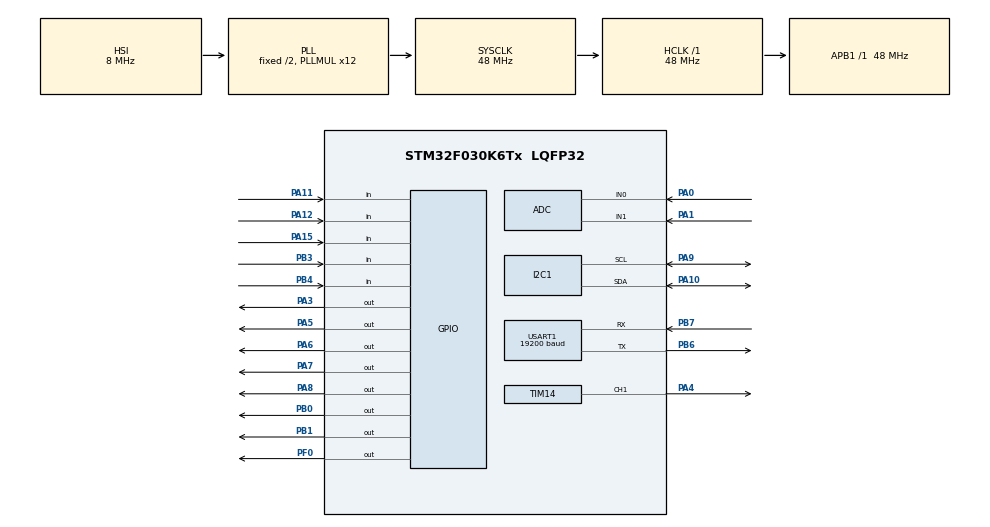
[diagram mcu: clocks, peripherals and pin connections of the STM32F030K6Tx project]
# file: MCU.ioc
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ADC.ClockPrescaler=ADC_CLOCK_ASYNC_DIV1
ADC.DMAContinuousRequests=ENABLE
ADC.DiscontinuousConvMode=ENABLE
ADC.EOCSelection=ADC_EOC_SEQ_CONV
ADC.EnableAnalogWatchDog=false
ADC.ExternalTrigConv=ADC_EXTERNALTRIGCONV_T3_TRGO
ADC.Overrun=ADC_OVR_DATA_OVERWRITTEN
ADC.SamplingTime=ADC_SAMPLETIME_7CYCLES_5
Dma.ADC.0.Direction=DMA_PERIPH_TO_MEMORY
Dma.ADC.0.Instance=DMA1_Channel1
Dma.ADC.0.MemDataAlignment=DMA_MDATAALIGN_HALFWORD
Dma.ADC.0.MemInc=DMA_MINC_ENABLE
Dma.ADC.0.Mode=DMA_CIRCULAR
Dma.ADC.0.PeriphDataAlignment=DMA_PDATAALIGN_HALFWORD
Dma.ADC.0.PeriphInc=DMA_PINC_DISABLE
Dma.ADC.0.Priority=DMA_PRIORITY_LOW
Dma.Request0=ADC
Mcu.Family=STM32F0
Mcu.Name=STM32F030K6Tx
Mcu.Package=LQFP32
NVIC.DMA1_Channel1_IRQn=true\:0\:0\:false\:false\:true\:false\:true
NVIC.TIM17_IRQn=true\:0\:0\:false\:false\:true\:false\:true
NVIC.TimeBase=TIM17_IRQn
NVIC.TimeBaseIP=TIM17
NVIC.USART1_IRQn=true\:0\:0\:false\:false\:true\:true\:true
PA0.Mode=IN0
PA0.Signal=ADC_IN0
PA1.Mode=IN1
PA1.Signal=ADC_IN1
PA10.Mode=I2C
PA10.Signal=I2C1_SDA
PA11.GPIO_PuPd=GPIO_PULLUP
PA11.Signal=GPIO_Input
PA12.GPIO_PuPd=GPIO_PULLUP
PA12.Signal=GPIO_Input
PA13.Mode=Serial_Wire
PA13.Signal=SYS_SWDIO
PA14.Mode=Serial_Wire
PA14.Signal=SYS_SWCLK
PA15.GPIO_PuPd=GPIO_PULLUP
PA15.Signal=GPIO_Input
PA3.GPIO_Speed=GPIO_SPEED_FREQ_LOW
PA3.Signal=GPIO_Output
PA4.Signal=S_TIM14_CH1
PA5.Signal=GPIO_Output
PA6.Signal=GPIO_Output
PA7.Signal=GPIO_Output
PA8.Signal=GPIO_Output
PA9.Mode=I2C
PA9.Signal=I2C1_SCL
PB0.Signal=GPIO_Output
PB1.Signal=GPIO_Output
PB3.GPIO_PuPd=GPIO_PULLUP
PB3.Signal=GPIO_Input
PB4.GPIO_PuPd=GPIO_PULLUP
PB4.Signal=GPIO_Input
PB6.Mode=Asynchronous
PB6.Signal=USART1_TX
PB7.Mode=Asynchronous
PB7.Signal=USART1_RX
PF0-OSC_IN.Signal=GPIO_Output
ProjectManager.HeapSize=0x200
ProjectManager.StackSize=0x400
ProjectManager.TargetToolchain=MDK-ARM V5
RCC.AHBFreq_Value=48000000
RCC.APB1Freq_Value=48000000
RCC.APB1TimFreq_Value=48000000
RCC.HCLKFreq_Value=48000000
RCC.PLLMUL=RCC_PLL_MUL12
RCC.SYSCLKFreq_VALUE=48000000
RCC.SYSCLKSource=RCC_SYSCLKSOURCE_PLLCLK
SH.S_TIM14_CH1.0=TIM14_CH1,PWM Generation1 CH1
TIM14.Channel=TIM_CHANNEL_1
TIM14.Period=11
TIM14.Pulse=5
TIM3.Period=23999
TIM3.TIM_MasterOutputTrigger=TIM_TRGO_UPDATE
USART1.BaudRate=19200
USART1.SwapParam=ADVFEATURE_SWAP_ENABLE
USART1.VirtualMode-Asynchronous=VM_ASYNC
VP_SYS_VS_tim17.Mode=TIM17
VP_TIM14_VS_ClockSourceINT.Mode=Enable_Timer
VP_TIM3_VS_ClockSourceINT.Mode=Internal
board=custom

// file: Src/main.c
/* USER CODE BEGIN Header */
/**
  ******************************************************************************
  * @file           : main.c
  * @brief          : Main program body
  ******************************************************************************
  * @attention
  *
  * <h2><center>&copy; Copyright (c) 2019 STMicroelectronics.
  * All rights reserved.</center></h2>
  *
  * This software component is licensed by ST under BSD 3-Clause license,
  * the "License"; You may not use this file except in compliance with the
  * License. You may obtain a copy of the License at:
  *                        opensource.org/licenses/BSD-3-Clause
  *
  ******************************************************************************
  */
/* USER CODE END Header */

#include "main.h"

/* USER CODE BEGIN Includes */
#include "stdio.h"
#include "hardware.h"
#include "string.h"
#include "math.h"
/* USER CODE END Includes */

/* USER CODE BEGIN PTD */
extern uint16_t RGB_DATA[16];
extern uint8_t SegmentPatern[16];
extern uint8_t segmentBuffer[4];
uint8_t uartTMP[1];
extern uint8_t URATRX[50];
uint16_t ADCData[256][2];//it will cntain the ADC data
extern DS1307 Now;
extern uint8_t CalRMS ;
uint32_t RMS[2];
float Volt[2];
/* USER CODE END PTD */

ADC_HandleTypeDef hadc;
DMA_HandleTypeDef hdma_adc;

I2C_HandleTypeDef hi2c1;

TIM_HandleTypeDef htim3;
TIM_HandleTypeDef htim14;

UART_HandleTypeDef huart1;

void SystemClock_Config(void);
static void MX_GPIO_Init(void);
static void MX_DMA_Init(void);
static void MX_ADC_Init(void);
static void MX_I2C1_Init(void);
static void MX_TIM14_Init(void);
static void MX_USART1_UART_Init(void);
static void MX_TIM3_Init(void);

int main(void)
{
  /* USER CODE BEGIN 1 */
	//int i =0;
  /* USER CODE END 1 */

  /* MCU Configuration--------------------------------------------------------*/

  /* Reset of all peripherals, Initializes the Flash interface and the Systick. */
  HAL_Init();

  /* Configure the system clock */
  SystemClock_Config();

  /* Initialize all configured peripherals */
  MX_GPIO_Init();
  MX_DMA_Init();
  MX_ADC_Init();
  MX_I2C1_Init();
  MX_TIM14_Init();
  MX_USART1_UART_Init();
  MX_TIM3_Init();
  /* USER CODE BEGIN 2 */
	//static int key;
	char myName[20] = {"ASiDesigner\r\n"};
	char txtBuf[50];
	HAL_TIM_PWM_Start(&htim14,TIM_CHANNEL_1);
  /* USER CODE END 2 */

  /* Infinite loop */
  /* USER CODE BEGIN WHILE */
	int i=0;
	SetTime(31,6,14,5,25,9,18);
	HAL_UART_Receive_IT(&huart1,uartTMP,1);
	//Please start timer 3 for ADC regular conversion
	HAL_TIM_Base_Start(&htim3);
	//Read Data from ADC
	HAL_ADC_Start_DMA(&hadc, (uint32_t *) ADCData,512);
  while (1)
  {
    /* USER CODE END WHILE */

    /* USER CODE BEGIN 3 */
		//Buffers are ready for RMS calculation
		if(CalRMS){
			CalRMS =0;
			RMS[0] = 0;
			RMS[1] = 0;

			for(i=0;i<256;i++)
			{
				RMS[0] += ADCData[i][0] * ADCData[i][0];
				RMS[1] += ADCData[i][1] * ADCData[i][1];
			}

			//Clac the result by diving by 256
			RMS[0] = RMS[0] >>8;
			RMS[1] = RMS[1] >>8;

			Volt[0] = sqrt(RMS[0]);
			Volt[1] = sqrt(RMS[1]);

			Volt[0] = Volt[0] * 0.00593325092707045735475896168109;
			Volt[1] = Volt[1] * 0.00593325092707045735475896168109;
		}
		GetTime();
		sprintf(myName,"%04d",(int)(Volt[0]*100.0));
		//sprintf(myName,"%02d%02d",Now.minute,Now.second);
		segmentBuffer[0] = myName[0] - '0';
		segmentBuffer[1] = myName[1] - '0';
		segmentBuffer[2] = myName[2] - '0';
		segmentBuffer[3] = myName[3] - '0';
		i++;
		if(i>9999)
			i = 0;
		HAL_Delay(10);
		//Pars Uart incoming data
		//if it's NAM, please tell me your name
		if(URATRX[0] == 'N' && URATRX[1] == 'A' && URATRX[2] == 'M'){
			sprintf(txtBuf,"ASiDesigner and the cnt is %d\r\n",i);
			HAL_UART_Transmit(&huart1,(uint8_t *)txtBuf,strlen(txtBuf),100);
			clearRXD();
		}
		//We should get STM and the time in the 11:39:10 format
		if(URATRX[0] == 'S' && URATRX[1] == 'T' && URATRX[2] == 'M'){
			int h,m,s;
			HAL_Delay(100);
			sscanf((char*)URATRX,"%*s %d:%d:%d",&h,&m,&s);
			Now.hour = h;
			Now.minute = m;
			Now.second = s;
			SetTime(Now.second,Now.minute,Now.hour,Now.day,Now.date,Now.month,Now.year);
			clearRXD();
		}
  }
  /* USER CODE END 3 */
}

void SystemClock_Config(void)
{
  RCC_OscInitTypeDef RCC_OscInitStruct = {0};
  RCC_ClkInitTypeDef RCC_ClkInitStruct = {0};
  RCC_PeriphCLKInitTypeDef PeriphClkInit = {0};

  /** Initializes the CPU, AHB and APB busses clocks
  */
  RCC_OscInitStruct.OscillatorType = RCC_OSCILLATORTYPE_HSI|RCC_OSCILLATORTYPE_HSI14;
  RCC_OscInitStruct.HSIState = RCC_HSI_ON;
  RCC_OscInitStruct.HSI14State = RCC_HSI14_ON;
  RCC_OscInitStruct.HSICalibrationValue = RCC_HSICALIBRATION_DEFAULT;
  RCC_OscInitStruct.HSI14CalibrationValue = 16;
  RCC_OscInitStruct.PLL.PLLState = RCC_PLL_ON;
  RCC_OscInitStruct.PLL.PLLSource = RCC_PLLSOURCE_HSI;
  RCC_OscInitStruct.PLL.PLLMUL = RCC_PLL_MUL12;
  RCC_OscInitStruct.PLL.PREDIV = RCC_PREDIV_DIV1;
  if (HAL_RCC_OscConfig(&RCC_OscInitStruct) != HAL_OK)
  {
    Error_Handler();
  }
  /** Initializes the CPU, AHB and APB busses clocks
  */
  RCC_ClkInitStruct.ClockType = RCC_CLOCKTYPE_HCLK|RCC_CLOCKTYPE_SYSCLK
                              |RCC_CLOCKTYPE_PCLK1;
  RCC_ClkInitStruct.SYSCLKSource = RCC_SYSCLKSOURCE_PLLCLK;
  RCC_ClkInitStruct.AHBCLKDivider = RCC_SYSCLK_DIV1;
  RCC_ClkInitStruct.APB1CLKDivider = RCC_HCLK_DIV1;

  if (HAL_RCC_ClockConfig(&RCC_ClkInitStruct, FLASH_LATENCY_1) != HAL_OK)
  {
    Error_Handler();
  }
  PeriphClkInit.PeriphClockSelection = RCC_PERIPHCLK_USART1|RCC_PERIPHCLK_I2C1;
  PeriphClkInit.Usart1ClockSelection = RCC_USART1CLKSOURCE_PCLK1;
  PeriphClkInit.I2c1ClockSelection = RCC_I2C1CLKSOURCE_HSI;
  if (HAL_RCCEx_PeriphCLKConfig(&PeriphClkInit) != HAL_OK)
  {
    Error_Handler();
  }
}

static void MX_ADC_Init(void)
{

  ADC_ChannelConfTypeDef sConfig = {0};

  /** Configure the global features of the ADC (Clock, Resolution, Data Alignment and number of conversion)
  */
  hadc.Instance = ADC1;
  hadc.Init.ClockPrescaler = ADC_CLOCK_ASYNC_DIV1;
  hadc.Init.Resolution = ADC_RESOLUTION_12B;
  hadc.Init.DataAlign = ADC_DATAALIGN_RIGHT;
  hadc.Init.ScanConvMode = ADC_SCAN_DIRECTION_FORWARD;
  hadc.Init.EOCSelection = ADC_EOC_SEQ_CONV;
  hadc.Init.LowPowerAutoWait = DISABLE;
  hadc.Init.LowPowerAutoPowerOff = DISABLE;
  hadc.Init.ContinuousConvMode = DISABLE;
  hadc.Init.DiscontinuousConvMode = ENABLE;
  hadc.Init.ExternalTrigConv = ADC_EXTERNALTRIGCONV_T3_TRGO;
  hadc.Init.ExternalTrigConvEdge = ADC_EXTERNALTRIGCONVEDGE_RISING;
  hadc.Init.DMAContinuousRequests = ENABLE;
  hadc.Init.Overrun = ADC_OVR_DATA_OVERWRITTEN;
  if (HAL_ADC_Init(&hadc) != HAL_OK)
  {
    Error_Handler();
  }
  /** Configure for the selected ADC regular channel to be converted.
  */
  sConfig.Channel = ADC_CHANNEL_0;
  sConfig.Rank = ADC_RANK_CHANNEL_NUMBER;
  sConfig.SamplingTime = ADC_SAMPLETIME_7CYCLES_5;
  if (HAL_ADC_ConfigChannel(&hadc, &sConfig) != HAL_OK)
  {
    Error_Handler();
  }
  /** Configure for the selected ADC regular channel to be converted.
  */
  sConfig.Channel = ADC_CHANNEL_1;
  if (HAL_ADC_ConfigChannel(&hadc, &sConfig) != HAL_OK)
  {
    Error_Handler();
  }

}

static void MX_I2C1_Init(void)
{

  hi2c1.Instance = I2C1;
  hi2c1.Init.Timing = 0x2000090E;
  hi2c1.Init.OwnAddress1 = 0;
  hi2c1.Init.AddressingMode = I2C_ADDRESSINGMODE_7BIT;
  hi2c1.Init.DualAddressMode = I2C_DUALADDRESS_DISABLE;
  hi2c1.Init.OwnAddress2 = 0;
  hi2c1.Init.OwnAddress2Masks = I2C_OA2_NOMASK;
  hi2c1.Init.GeneralCallMode = I2C_GENERALCALL_DISABLE;
  hi2c1.Init.NoStretchMode = I2C_NOSTRETCH_DISABLE;
  if (HAL_I2C_Init(&hi2c1) != HAL_OK)
  {
    Error_Handler();
  }
  /** Configure Analogue filter
  */
  if (HAL_I2CEx_ConfigAnalogFilter(&hi2c1, I2C_ANALOGFILTER_ENABLE) != HAL_OK)
  {
    Error_Handler();
  }
  /** Configure Digital filter
  */
  if (HAL_I2CEx_ConfigDigitalFilter(&hi2c1, 0) != HAL_OK)
  {
    Error_Handler();
  }

}

static void MX_TIM3_Init(void)
{

  TIM_ClockConfigTypeDef sClockSourceConfig = {0};
  TIM_MasterConfigTypeDef sMasterConfig = {0};

  htim3.Instance = TIM3;
  htim3.Init.Prescaler = 0;
  htim3.Init.CounterMode = TIM_COUNTERMODE_UP;
  htim3.Init.Period = 23999;
  htim3.Init.ClockDivision = TIM_CLOCKDIVISION_DIV1;
  htim3.Init.AutoReloadPreload = TIM_AUTORELOAD_PRELOAD_DISABLE;
  if (HAL_TIM_Base_Init(&htim3) != HAL_OK)
  {
    Error_Handler();
  }
  sClockSourceConfig.ClockSource = TIM_CLOCKSOURCE_INTERNAL;
  if (HAL_TIM_ConfigClockSource(&htim3, &sClockSourceConfig) != HAL_OK)
  {
    Error_Handler();
  }
  sMasterConfig.MasterOutputTrigger = TIM_TRGO_UPDATE;
  sMasterConfig.MasterSlaveMode = TIM_MASTERSLAVEMODE_DISABLE;
  if (HAL_TIMEx_MasterConfigSynchronization(&htim3, &sMasterConfig) != HAL_OK)
  {
    Error_Handler();
  }

}

static void MX_TIM14_Init(void)
{

  TIM_OC_InitTypeDef sConfigOC = {0};

  htim14.Instance = TIM14;
  htim14.Init.Prescaler = 0;
  htim14.Init.CounterMode = TIM_COUNTERMODE_UP;
  htim14.Init.Period = 11;
  htim14.Init.ClockDivision = TIM_CLOCKDIVISION_DIV1;
  htim14.Init.AutoReloadPreload = TIM_AUTORELOAD_PRELOAD_DISABLE;
  if (HAL_TIM_Base_Init(&htim14) != HAL_OK)
  {
    Error_Handler();
  }
  if (HAL_TIM_PWM_Init(&htim14) != HAL_OK)
  {
    Error_Handler();
  }
  sConfigOC.OCMode = TIM_OCMODE_PWM1;
  sConfigOC.Pulse = 5;
  sConfigOC.OCPolarity = TIM_OCPOLARITY_HIGH;
  sConfigOC.OCFastMode = TIM_OCFAST_DISABLE;
  if (HAL_TIM_PWM_ConfigChannel(&htim14, &sConfigOC, TIM_CHANNEL_1) != HAL_OK)
  {
    Error_Handler();
  }
  HAL_TIM_MspPostInit(&htim14);

}

static void MX_USART1_UART_Init(void)
{

  huart1.Instance = USART1;
  huart1.Init.BaudRate = 19200;
  huart1.Init.WordLength = UART_WORDLENGTH_8B;
  huart1.Init.StopBits = UART_STOPBITS_1;
  huart1.Init.Parity = UART_PARITY_NONE;
  huart1.Init.Mode = UART_MODE_TX_RX;
  huart1.Init.HwFlowCtl = UART_HWCONTROL_NONE;
  huart1.Init.OverSampling = UART_OVERSAMPLING_16;
  huart1.Init.OneBitSampling = UART_ONE_BIT_SAMPLE_DISABLE;
  huart1.AdvancedInit.AdvFeatureInit = UART_ADVFEATURE_SWAP_INIT;
  huart1.AdvancedInit.Swap = UART_ADVFEATURE_SWAP_ENABLE;
  if (HAL_UART_Init(&huart1) != HAL_OK)
  {
    Error_Handler();
  }

}

static void MX_DMA_Init(void)
{

  /* DMA controller clock enable */
  __HAL_RCC_DMA1_CLK_ENABLE();

  /* DMA interrupt init */
  /* DMA1_Channel1_IRQn interrupt configuration */
  HAL_NVIC_SetPriority(DMA1_Channel1_IRQn, 0, 0);
  HAL_NVIC_EnableIRQ(DMA1_Channel1_IRQn);

}

static void MX_GPIO_Init(void)
{
  GPIO_InitTypeDef GPIO_InitStruct = {0};

  /* GPIO Ports Clock Enable */
  __HAL_RCC_GPIOF_CLK_ENABLE();
  __HAL_RCC_GPIOA_CLK_ENABLE();
  __HAL_RCC_GPIOB_CLK_ENABLE();

  /*Configure GPIO pin Output Level */
  HAL_GPIO_WritePin(GPIOF, GPIO_PIN_0, GPIO_PIN_RESET);

  /*Configure GPIO pin Output Level */
  HAL_GPIO_WritePin(GPIOA, GPIO_PIN_3|GPIO_PIN_5|GPIO_PIN_6|GPIO_PIN_7
                          |GPIO_PIN_8, GPIO_PIN_RESET);

  /*Configure GPIO pin Output Level */
  HAL_GPIO_WritePin(GPIOB, GPIO_PIN_0|GPIO_PIN_1, GPIO_PIN_RESET);

  /*Configure GPIO pin : PF0 */
  GPIO_InitStruct.Pin = GPIO_PIN_0;
  GPIO_InitStruct.Mode = GPIO_MODE_OUTPUT_PP;
  GPIO_InitStruct.Pull = GPIO_NOPULL;
  GPIO_InitStruct.Speed = GPIO_SPEED_FREQ_LOW;
  HAL_GPIO_Init(GPIOF, &GPIO_InitStruct);

  /*Configure GPIO pins : PA3 PA5 PA6 PA7
                           PA8 */
  GPIO_InitStruct.Pin = GPIO_PIN_3|GPIO_PIN_5|GPIO_PIN_6|GPIO_PIN_7
                          |GPIO_PIN_8;
  GPIO_InitStruct.Mode = GPIO_MODE_OUTPUT_PP;
  GPIO_InitStruct.Pull = GPIO_NOPULL;
  GPIO_InitStruct.Speed = GPIO_SPEED_FREQ_LOW;
  HAL_GPIO_Init(GPIOA, &GPIO_InitStruct);

  /*Configure GPIO pins : PB0 PB1 */
  GPIO_InitStruct.Pin = GPIO_PIN_0|GPIO_PIN_1;
  GPIO_InitStruct.Mode = GPIO_MODE_OUTPUT_PP;
  GPIO_InitStruct.Pull = GPIO_NOPULL;
  GPIO_InitStruct.Speed = GPIO_SPEED_FREQ_LOW;
  HAL_GPIO_Init(GPIOB, &GPIO_InitStruct);

  /*Configure GPIO pins : PA11 PA12 PA15 */
  GPIO_InitStruct.Pin = GPIO_PIN_11|GPIO_PIN_12|GPIO_PIN_15;
  GPIO_InitStruct.Mode = GPIO_MODE_INPUT;
  GPIO_InitStruct.Pull = GPIO_PULLUP;
  HAL_GPIO_Init(GPIOA, &GPIO_InitStruct);

  /*Configure GPIO pins : PB3 PB4 */
  GPIO_InitStruct.Pin = GPIO_PIN_3|GPIO_PIN_4;
  GPIO_InitStruct.Mode = GPIO_MODE_INPUT;
  GPIO_InitStruct.Pull = GPIO_PULLUP;
  HAL_GPIO_Init(GPIOB, &GPIO_InitStruct);

}

void HAL_TIM_PeriodElapsedCallback(TIM_HandleTypeDef *htim)
{
  if (htim->Instance == TIM17) {
    HAL_IncTick();
  }
}

void Error_Handler(void)
{
}

/************************ (C) COPYRIGHT STMicroelectronics *****END OF FILE****/
